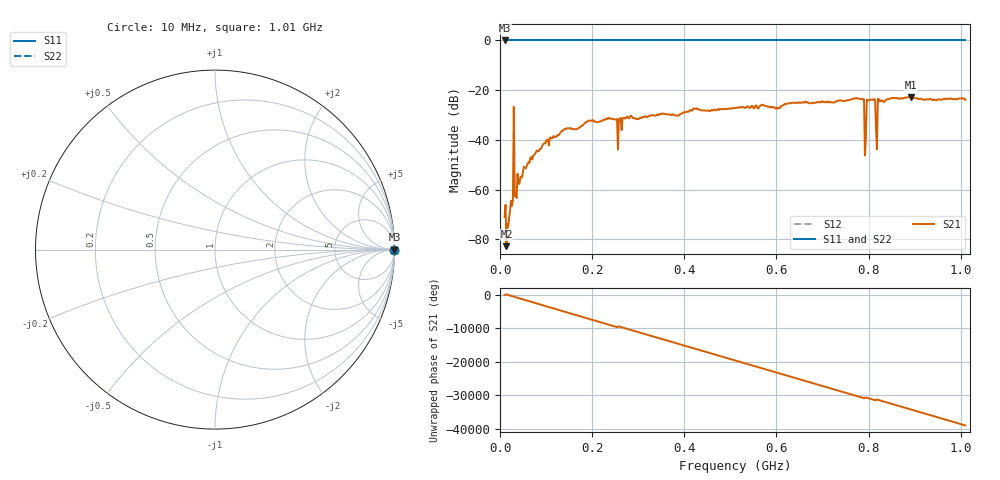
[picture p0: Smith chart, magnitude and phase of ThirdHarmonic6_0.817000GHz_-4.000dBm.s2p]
! 8/16/2025 3:10:09 AM
! C:\ANRITSUVNA\TEMP\TEMP.S2P
! CHANNEL.1
! TR.MEASUREMENT
! RAW.DATA
! RF.CORRECTION.OFF
! AVERAGING.OFF
! IF.BANDWIDTH: 5KHZ
! SWEEPTYPE:  FREQ.SWEEP(Linear)
! Reference Plane Port Info
! PORT:  PORT1  PORT2
! DISTANCE:  0  m  0  m
! TIME:  0  s  0  s
! PHASE.OFFSET:  0  deg.  0  deg.
! LOSS:  0  dB  0  dB
! REF.LOSS:  0  dB  0  dB
! REF.FREQ:  0  Hz  0  Hz
! Power Info
! POWER:  -20  dBm  -20  dBm
! EFF.POWER:  -20  dBm  -20  dBm
! SOURCE.ATTEN:  0  dB  0  dB
! TEST.ATTEN:  0  dB  0  dB
# GHZ S RI R 50.0
! FREQ.GHZ  S11RE  S11IM  S21RE  S21IM  S12RE  S12IM  S22RE  S22IM
!; PortSelection: Port_12
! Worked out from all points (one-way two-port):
!   501 points, 10 MHz to 1.01 GHz, reference 50 ohm
!   highest |S21| = -22.69 dB at 892 MHz (marker M1); lowest = -82.8 dB at 14 MHz (marker M2)
!   lowest |S11| = 0.0 dB at 10 MHz (marker M3)
!   |S11| at or under -10 dB: nowhere
!   |S22| runs from 0.0 to 0.0 dB; largest |S21 - S12| = 1.1
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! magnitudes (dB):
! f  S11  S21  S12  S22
! 10 MHz  0.0  -71.0  0.0  0.0
! 14 MHz  0.0  -82.8  0.0  0.0
! 18 MHz  0.0  -74.9  0.0  0.0
! 24 MHz  0.0  -64.5  0.0  0.0
! 26 MHz  0.0  -66.6  0.0  0.0
! 34 MHz  0.0  -61.6  0.0  0.0
! 36 MHz  0.0  -63.4  0.0  0.0
! 98 MHz  0.0  -41.4  0.0  0.0
! 178 MHz  0.0  -34.4  0.0  0.0
! 344 MHz  0.0  -30.0  0.0  0.0
! 510 MHz  0.0  -27.2  0.0  0.0
! 678 MHz  0.0  -25.1  0.0  0.0
! 786 MHz  0.0  -23.6  0.0  0.0
! 790 MHz  0.0  -23.7  0.0  0.0
! 796 MHz  0.0  -23.9  0.0  0.0
! 800 MHz  0.0  -24.1  0.0  0.0
! 810 MHz  0.0  -23.8  0.0  0.0
! 820 MHz  0.0  -23.5  0.0  0.0
! 824 MHz  0.0  -24.5  0.0  0.0
! 844 MHz  0.0  -23.5  0.0  0.0
! 892 MHz  0.0  -22.7  0.0  0.0
! 1.01 GHz  0.0  -23.9  0.0  0.0
